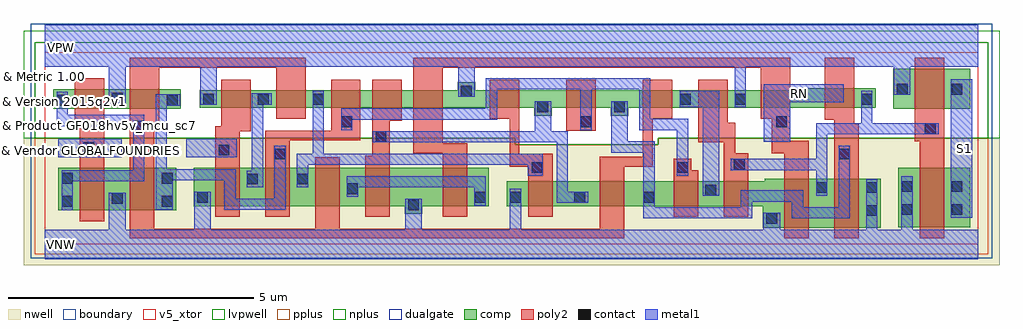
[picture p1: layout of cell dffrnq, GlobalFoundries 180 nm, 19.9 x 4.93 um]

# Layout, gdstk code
import gdstk
lib = gdstk.Library(unit=1e-6, precision=1e-09)
def R(c, l, rs):  # rectangles x0, y0, x1, y1
    for r in rs: c.add(gdstk.rectangle(r[:2], r[2:], *l))
def A(c, l, x, y, w, h, nx, ny, dx, dy):  # array of equal rectangles
    R(c, l, [(x+i*dx, y+j*dy, x+i*dx+w, y+j*dy+h) for i in range(nx) for j in range(ny)])
def P(c, l, *ps):  # polygons
    for p in ps: c.add(gdstk.Polygon(p, *l))
boundary = (0, 0)
nwell = (21, 0)
comp = (22, 0)
poly2 = (30, 0)
pplus = (31, 0)
nplus = (32, 0)
contact = (33, 0)
metal1 = (34, 0)
dualgate = (55, 0)
v5_xtor = (112, 1)
lvpwell = (204, 0)

dffrnq = lib.new_cell('dffrnq')
R(dffrnq, boundary, [(0.01,-11.29,19.05,-7.37)])
P(dffrnq, nwell, [(-0.42,-11.72),(-0.42,-9.13),(9.61,-9.13),(9.61,-9.265),(12.525,-9.265),(12.525,-9.13),(19.48,-9.13),(19.48,-11.72)])
R(dffrnq, comp, [(17.415,-10.945,18.88,-9.73), (0.29,-10.595,2.69,-9.73), (0.19,-8.53,2.79,-8.125), (17.315,-8.53,18.88,-7.715)])
P(dffrnq, comp, [(14.655,-10.95),(14.655,-10.51),(9.43,-10.51),(9.43,-10.005),(14.695,-10.005),(14.695,-9.95),(17.055,-9.95),(17.055,-10.95)],
  [(9.99,-8.665),(9.99,-8.51),(3.17,-8.51),(3.17,-8.15),(8.43,-8.15),(8.43,-7.99),(8.79,-7.99),(8.79,-8.15),(15.515,-8.15),(15.515,-8.11),(16.955,-8.11),(16.955,-8.51),(11.91,-8.51),(11.91,-8.665),(11.55,-8.665),(11.55,-8.51),(10.35,-8.51),(10.35,-8.665)],
  [(7.35,-10.67),(7.35,-10.51),(3.05,-10.51),(3.05,-9.73),(9.07,-9.73),(9.07,-10.51),(7.71,-10.51),(7.71,-10.67)])
R(dffrnq, poly2, [(10.65,-8.97,11.25,-7.93)])
P(dffrnq, poly2, [(17.855,-11.17),(17.855,-9.19),(17.755,-9.19),(17.755,-7.49),(18.355,-7.49),(18.355,-11.17)],
  [(16.115,-11.17),(16.115,-8.75),(15.915,-8.75),(15.915,-7.49),(16.515,-7.49),(16.515,-8.83),(16.615,-8.83),(16.615,-11.17)],
  [(15.095,-11.17),(15.095,-9.43),(14.835,-9.43),(14.835,-8.73),(14.615,-8.73),(14.615,-7.69),(8.13,-7.69),(8.13,-9.23),(8.63,-9.23),(8.63,-10.73),(8.13,-10.73),(8.13,-9.43),(7.53,-9.43),(7.53,-7.49),(15.215,-7.49),(15.215,-9.175),(15.595,-9.175),(15.595,-11.17)],
  [(13.855,-10.73),(13.855,-9.21),(13.335,-9.21),(13.335,-7.93),(13.935,-7.93),(13.935,-8.81),(14.095,-8.81),(14.095,-9.43),(14.355,-9.43),(14.355,-10.73)],
  [(12.835,-10.73),(12.835,-9.545),(13.195,-9.545),(13.195,-9.785),(13.335,-9.785),(13.335,-10.73)],
  [(1.75,-11.17),(1.75,-7.49),(5.33,-7.49),(5.33,-8.73),(4.73,-8.73),(4.73,-7.69),(2.35,-7.69),(2.35,-8.81),(2.25,-8.81),(2.25,-10.97),(5.53,-10.97),(5.53,-9.51),(6.03,-9.51),(6.03,-10.97),(11.33,-10.97),(11.33,-9.505),(12.21,-9.505),(12.21,-7.93),(12.81,-7.93),(12.81,-8.73),(12.41,-8.73),(12.41,-9.705),(11.83,-9.705),(11.83,-11.17)],
  [(9.87,-10.73),(9.87,-9.705),(9.49,-9.705),(9.49,-8.73),(9.09,-8.73),(9.09,-7.93),(9.69,-7.93),(9.69,-9.44),(10.37,-9.44),(10.37,-10.73)],
  [(6.55,-10.73),(6.55,-9.485),(6.69,-9.485),(6.69,-7.93),(7.29,-7.93),(7.29,-8.77),(7.05,-8.77),(7.05,-10.73)],
  [(4.51,-10.73),(4.51,-8.97),(5.85,-8.97),(5.85,-7.93),(6.45,-7.93),(6.45,-9.17),(5.01,-9.17),(5.01,-10.73)],
  [(3.49,-10.73),(3.49,-8.88),(3.61,-8.88),(3.61,-7.93),(4.21,-7.93),(4.21,-8.98),(3.99,-8.98),(3.99,-10.73)],
  [(0.73,-10.82),(0.73,-8.81),(0.63,-8.81),(0.63,-7.905),(1.23,-7.905),(1.23,-10.82)])
P(dffrnq, pplus, [(-0.19,-11.49),(-0.19,-9.13),(9.61,-9.13),(9.61,-9.265),(12.525,-9.265),(12.525,-9.13),(19.25,-9.13),(19.25,-11.49)])
P(dffrnq, nplus, [(9.61,-9.265),(9.61,-9.13),(-0.19,-9.13),(-0.19,-7.17),(19.25,-7.17),(19.25,-9.13),(12.525,-9.13),(12.525,-9.265)])
A(dffrnq, contact, 3.24, -8.44, 0.22, 0.22, 3, 1, 1.12, 0)
R(dffrnq, contact, [(14.725,-10.875,14.945,-10.655), (16.765,-10.71,16.985,-10.49), (17.485,-10.69,17.705,-10.47), (18.505,-10.69,18.725,-10.47), (7.42,-10.6,7.64,-10.38), (0.36,-10.525,0.58,-10.305), (2.4,-10.525,2.62,-10.305), (1.38,-10.46,1.6,-10.24), (3.12,-10.44,3.34,-10.22), (8.78,-10.44,9,-10.22), (9.5,-10.44,9.72,-10.22), (10.81,-10.44,11.03,-10.22), (12.225,-10.44,12.445,-10.22), (13.485,-10.295,13.705,-10.075), (6.18,-10.265,6.4,-10.045), (15.745,-10.24,15.965,-10.02), (16.765,-10.24,16.985,-10.02), (17.485,-10.22,17.705,-10), (18.505,-10.22,18.725,-10), (4.14,-10.07,4.36,-9.85), (5.16,-10.07,5.38,-9.85), (0.36,-10.055,0.58,-9.835), (2.4,-10.055,2.62,-9.835), (9.94,-9.835,10.16,-9.615), (12.905,-9.835,13.125,-9.615), (14.065,-9.77,14.285,-9.55), (4.7,-9.56,4.92,-9.34), (16.205,-9.56,16.425,-9.34), (3.56,-9.475,3.78,-9.255), (0.8,-9.425,1.02,-9.205), (6.76,-9.205,6.98,-8.985), (17.96,-9.045,18.18,-8.825), (1.82,-8.995,2.04,-8.775), (6.06,-8.9,6.28,-8.68), (10.94,-8.9,11.16,-8.68), (14.925,-8.9,15.145,-8.68), (10.06,-8.595,10.28,-8.375), (11.62,-8.595,11.84,-8.375), (0.26,-8.46,0.48,-8.24), (2.5,-8.46,2.72,-8.24), (12.965,-8.44,13.185,-8.22), (14.085,-8.44,14.305,-8.22), (16.665,-8.44,16.885,-8.22), (1.38,-8.415,1.6,-8.195), (8.5,-8.28,8.72,-8.06), (17.385,-8.24,17.605,-8.02), (18.505,-8.24,18.725,-8.02)])
R(dffrnq, metal1, [(18.485,-10.75,18.92,-7.92), (0.29,-9.52,1.58,-9.14), (2.9,-9.52,3.93,-9.14)])
P(dffrnq, metal1, [(14.08,-8.5),(14.08,-7.67),(8.78,-7.67),(8.78,-8.285),(8.44,-8.285),(8.44,-7.67),(3.52,-7.67),(3.52,-8.445),(3.18,-8.445),(3.18,-7.67),(1.665,-7.67),(1.665,-8.42),(1.32,-8.42),(1.32,-7.67),(0.01,-7.67),(0.01,-6.81),(19.05,-6.81),(19.05,-7.67),(17.665,-7.67),(17.665,-8.245),(17.325,-8.245),(17.325,-7.67),(14.31,-7.67),(14.31,-8.5)],
  [(0.01,-11.59),(0.01,-10.99),(1.32,-10.99),(1.32,-10.235),(1.66,-10.235),(1.66,-10.99),(3.06,-10.99),(3.06,-10.215),(3.4,-10.215),(3.4,-10.99),(7.36,-10.99),(7.36,-10.36),(7.7,-10.36),(7.7,-10.99),(9.495,-10.99),(9.495,-10.16),(9.725,-10.16),(9.725,-10.99),(14.665,-10.99),(14.665,-10.65),(15.005,-10.65),(15.005,-10.99),(16.76,-10.99),(16.76,-9.96),(16.99,-9.96),(16.99,-10.99),(17.48,-10.99),(17.48,-9.9),(17.71,-9.9),(17.71,-10.99),(19.05,-10.99),(19.05,-11.59)],
  [(15.74,-10.3),(15.74,-9.775),(14.005,-9.775),(14.005,-9.545),(15.74,-9.545),(15.74,-8.82),(16.66,-8.82),(16.66,-8.16),(16.89,-8.16),(16.89,-8.82),(18.24,-8.82),(18.24,-9.05),(15.97,-9.05),(15.97,-10.3)],
  [(12.22,-10.76),(12.22,-9.42),(11.56,-9.42),(11.56,-8.37),(11.9,-8.37),(11.9,-9.19),(12.45,-9.19),(12.45,-10.53),(14.205,-10.53),(14.205,-10.19),(15.475,-10.19),(15.475,-10.53),(16.2,-10.53),(16.2,-9.28),(16.43,-9.28),(16.43,-10.76),(15.245,-10.76),(15.245,-10.42),(14.435,-10.42),(14.435,-10.76)],
  [(14.67,-9.2),(14.67,-8.03),(16.305,-8.03),(16.305,-8.39),(15.215,-8.39),(15.215,-9.2)],
  [(13.425,-10.3),(13.425,-8.5),(12.96,-8.5),(12.96,-8.16),(13.765,-8.16),(13.765,-10.3)],
  [(12.9,-9.895),(12.9,-8.96),(12.13,-8.96),(12.13,-8.13),(11.165,-8.13),(11.165,-8.96),(10.935,-8.96),(10.935,-8.13),(9.24,-8.13),(9.24,-8.75),(6.285,-8.75),(6.285,-8.96),(6.055,-8.96),(6.055,-8.52),(9.01,-8.52),(9.01,-7.9),(12.36,-7.9),(12.36,-8.73),(13.13,-8.73),(13.13,-9.895)],
  [(10.45,-10.445),(10.45,-9.21),(6.7,-9.21),(6.7,-8.98),(10,-8.98),(10,-8.37),(10.34,-8.37),(10.34,-8.98),(10.68,-8.98),(10.68,-10.215),(11.09,-10.215),(11.09,-10.445)],
  [(5.155,-10.13),(5.155,-9.44),(5.475,-9.44),(5.475,-8.16),(5.705,-8.16),(5.705,-9.44),(10.165,-9.44),(10.165,-9.895),(9.865,-9.895),(9.865,-9.67),(5.385,-9.67),(5.385,-10.13)],
  [(8.775,-10.5),(8.775,-10.13),(6.405,-10.13),(6.405,-10.325),(6.175,-10.325),(6.175,-9.9),(9.005,-9.9),(9.005,-10.5)],
  [(3.675,-10.59),(3.675,-9.985),(2.625,-9.985),(2.625,-10.585),(2.275,-10.585),(2.275,-8.235),(2.78,-8.235),(2.78,-8.465),(2.505,-8.465),(2.505,-9.755),(3.905,-9.755),(3.905,-10.36),(4.695,-10.36),(4.695,-9.28),(4.925,-9.28),(4.925,-10.59)],
  [(4.135,-10.13),(4.135,-9.79),(4.235,-9.79),(4.235,-8.215),(4.64,-8.215),(4.64,-8.445),(4.465,-8.445),(4.465,-10.13)],
  [(0.355,-10.595),(0.355,-9.775),(1.815,-9.775),(1.815,-8.88),(0.255,-8.88),(0.255,-8.18),(0.485,-8.18),(0.485,-8.65),(2.045,-8.65),(2.045,-10.005),(0.585,-10.005),(0.585,-10.595)])
R(dffrnq, dualgate, [(-0.27,-11.57,19.33,-6.79)])
R(dffrnq, v5_xtor, [(0.01,-11.29,19.05,-7.37)])
P(dffrnq, lvpwell, [(9.61,-9.265),(9.61,-9.13),(-0.42,-9.13),(-0.42,-6.94),(19.48,-6.94),(19.48,-9.13),(12.525,-9.13),(12.525,-9.265)])
dffrnq.add(gdstk.Label('& Metric 1.00', (0.01,-7.87), layer=63, texttype=63))
dffrnq.add(gdstk.Label('& Version 2015q2v1', (0.01,-8.37), layer=63, texttype=63))
dffrnq.add(gdstk.Label('& Product GF018hv5v_mcu_sc7', (0.01,-8.87), layer=63, texttype=63))
dffrnq.add(gdstk.Label('& Vendor GLOBALFOUNDRIES', (0.01,-9.37), layer=63, texttype=63))
dffrnq.add(gdstk.Label('S1', (18.77,-9.33), layer=34, texttype=10))
dffrnq.add(gdstk.Label('RN', (15.41,-8.21), layer=34, texttype=10))
dffrnq.add(gdstk.Label('CLK', (0.85,-9.33), layer=34, texttype=10))
dffrnq.add(gdstk.Label('VNW', (0.355,-11.29), layer=21, texttype=10))
dffrnq.add(gdstk.Label('VPW', (0.35,-7.285), layer=204, texttype=10))

lib.write_gds('dffrnq.gds')
